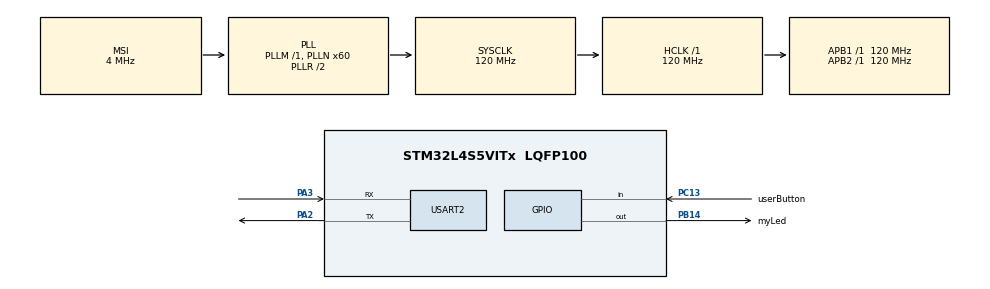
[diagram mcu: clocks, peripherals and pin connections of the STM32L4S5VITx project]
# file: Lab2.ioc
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ADC1.Channel-3\#ChannelRegularConversion=ADC_CHANNEL_VREFINT
ADC1.NbrOfConversionFlag=1
ADC1.OffsetNumber-3\#ChannelRegularConversion=ADC_OFFSET_NONE
ADC1.Rank-3\#ChannelRegularConversion=1
ADC1.Resolution=ADC_RESOLUTION_12B
ADC1.SamplingTime-3\#ChannelRegularConversion=ADC_SAMPLETIME_640CYCLES_5
ADC1.master=1
Mcu.Family=STM32L4
Mcu.Name=STM32L4S5VITx
Mcu.Package=LQFP100
NVIC.PriorityGroup=NVIC_PRIORITYGROUP_4
PA13\ (JTMS/SWDIO).Mode=Trace_Asynchronous_SW
PA13\ (JTMS/SWDIO).Signal=SYS_JTMS-SWDIO
PA14\ (JTCK/SWCLK).Mode=Trace_Asynchronous_SW
PA14\ (JTCK/SWCLK).Signal=SYS_JTCK-SWCLK
PA2.Mode=Asynchronous
PA2.Signal=USART2_TX
PA3.Mode=Asynchronous
PA3.Signal=USART2_RX
PB14.GPIO_Label=myLed
PB14.Signal=GPIO_Output
PB3\ (JTDO/TRACESWO).Mode=Trace_Asynchronous_SW
PB3\ (JTDO/TRACESWO).Signal=SYS_JTDO-SWO
PC13.GPIO_Label=userButton
PC13.Signal=GPIO_Input
ProjectManager.HeapSize=0x200
ProjectManager.StackSize=0x400
ProjectManager.TargetToolchain=STM32CubeIDE
RCC.ADCFreq_Value=48000000
RCC.AHBFreq_Value=120000000
RCC.APB1Freq_Value=120000000
RCC.APB1TimFreq_Value=120000000
RCC.APB2Freq_Value=120000000
RCC.APB2TimFreq_Value=120000000
RCC.CortexFreq_Value=120000000
RCC.HCLKFreq_Value=120000000
RCC.HSE_VALUE=8000000
RCC.HSI48_VALUE=48000000
RCC.HSI_VALUE=16000000
RCC.LSE_VALUE=32768
RCC.MSI_VALUE=4000000
RCC.PLLN=60
RCC.PLLSAI1N=24
RCC.SYSCLKFreq_VALUE=120000000
RCC.SYSCLKSource=RCC_SYSCLKSOURCE_PLLCLK
RCC.USBFreq_Value=48000000
RCC.VCOOutputFreq_Value=240000000
USART2.VirtualMode-Asynchronous=VM_ASYNC
VP_ADC1_TempSens_Input.Mode=IN-TempSens
VP_ADC1_Vref_Input.Mode=IN-Vrefint
board=B-L4S5I-IOT01A

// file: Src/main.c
/* USER CODE BEGIN Header */
/**
  ******************************************************************************
  * @file           : main.c
  * @brief          : Main program body
  ******************************************************************************
  * @attention
  *
  * Copyright (c) 2023 STMicroelectronics.
  * All rights reserved.
  *
  * This software is licensed under terms that can be found in the LICENSE file
  * in the root directory of this software component.
  * If no LICENSE file comes with this software, it is provided AS-IS.
  *
  ******************************************************************************
  */
/* USER CODE END Header */
#include "main.h"

/* USER CODE BEGIN Includes */
#include "stdio.h"
/* USER CODE END Includes */

/* USER CODE BEGIN PD */
// Get calibration values from memory as per documentation (pg 44 of datasheet)
#define TS_CAL1 ((uint16_t*)((uint32_t) 0x1FFF75A8))
#define TS_CAL2 ((uint16_t*)((uint32_t) 0x1FFF75CA))
#define VREFINT ((uint16_t*)((uint32_t) 0x1FFF75AA))

/* USER CODE END PD */

ADC_HandleTypeDef hadc1;

UART_HandleTypeDef huart2;

/* USER CODE BEGIN PV */
char status; // keep track of status from button (1 is read temperature, 0 is reference voltage)
uint32_t raw_data;	// data from ADC

/* USER CODE END PV */

void SystemClock_Config(void);
static void MX_GPIO_Init(void);
static void MX_ADC1_Init(void);
static void MX_USART2_UART_Init(void);
/* USER CODE BEGIN PFP */
// functions for lab 2
char readButton(char status);
int readVRef();
float readTemp(float v_ref);
void ADC_reconfig_vref(void);
void ADC_reconfig_temp(void);

// UART stuff for printf
#ifdef __GNUC__
#define PUTCHAR_PROTOTYPE int __io_putchar(int ch)
#else
#define PUTCHAR_PROTOTYPE int fputc(int ch, FILE *f)
#endif

PUTCHAR_PROTOTYPE
{
  HAL_UART_Transmit(&huart2, (uint8_t *)&ch, 1, HAL_MAX_DELAY);
  return ch;
}

/* USER CODE END PFP */

/* USER CODE BEGIN 0 */

/**
 * This function reads the button and switches its status as well as the state of the LED
 * To use button, hold until LED switches them immediately release
 *
 */
char readButton(char status) {

	if (HAL_GPIO_ReadPin(userButton_GPIO_Port, userButton_Pin) == 0) { // if button pressed

		status = !status; // switch status
		HAL_GPIO_TogglePin(myLed_GPIO_Port, myLed_Pin); // switch LED

	}
	HAL_Delay(700);
	return status;

}

/**
 * This function calculates the reference voltage
 *
 */
int readVRef() {
	// ADC conversion by polling as per data sheet instructions (pg 104 of HAL driver user manual)
	HAL_ADC_Start(&hadc1); // pg 107 of HAL driver manual
	while (HAL_ADC_PollForConversion(&hadc1, HAL_MAX_DELAY) != HAL_OK) {} // pg 142, 69 107 of HAL driver manual; HAL_MAX_DELAY means infinite poll until successful
	raw_data = HAL_ADC_GetValue(&hadc1); // pg 110 107 of HAL driver manual
	HAL_ADC_Stop(&hadc1); // pg 107 107 of HAL driver manual

	// calculate v_ref
	//float v_ref = 3000.0f * (*VREFINT) / raw_data;
	int v_ref = __HAL_ADC_CALC_VREFANALOG_VOLTAGE(raw_data, ADC_RESOLUTION_12B); // pg 129 of HAL driver manual

	return v_ref;
}

/**
 * This function reinitializes the ADC for reading VRef
 *
 */
void ADC_reconfig_vref() {
	ADC_ChannelConfTypeDef sConfig = {0};

	sConfig.Channel = ADC_CHANNEL_VREFINT;
	sConfig.SamplingTime = ADC_SAMPLETIME_247CYCLES_5;
	if (HAL_ADC_ConfigChannel(&hadc1, &sConfig) != HAL_OK)
	{
	  Error_Handler();
	}
}

/**
 * This function calculates the temperature
 *
 */
float readTemp(float v_ref) {
	// ADC conversion by polling as per data sheet instructions (pg 104 of HAL driver user manual)
	HAL_ADC_Start(&hadc1); // pg 107 of HAL driver manual
	while (HAL_ADC_PollForConversion(&hadc1, HAL_MAX_DELAY) != HAL_OK) {} // pg 142, 69 107 of HAL driver manual; HAL_MAX_DELAY means infinite poll until successful
	raw_data = HAL_ADC_GetValue(&hadc1); // pg 110 107 of HAL driver manual
	HAL_ADC_Stop(&hadc1); // pg 107 107 of HAL driver manual

	// page 130 of HAL driver manual for this function
	//float temp = __HAL_ADC_CALC_TEMPERATURE(v_ref, raw_data, ADC_RESOLUTION_12B);

	// TS_CAL1 taken @ 30 degrees C and TS_CAL2 taken @ 130 degrees C, both w/ Vref = 3.0 (pg 44 of datasheet)
	// Hence (130.0 - 30.0) and (3.3/3.0)
	// Equation from page 689 of long datasheet
	float temp = ((130.0 - 30.0)/(*TS_CAL2 - *TS_CAL1)) * ((v_ref/3000.0)*raw_data - (int) *TS_CAL1) + 30.0;

	return temp;
}

/**
 * This function reinitializes the ADC for reading temp
 *
 */
void ADC_reconfig_temp() {
	ADC_ChannelConfTypeDef sConfig = {0};

	sConfig.Channel = ADC_CHANNEL_TEMPSENSOR;
	sConfig.SamplingTime = ADC_SAMPLETIME_640CYCLES_5; // max for accuracy
	if(HAL_ADC_ConfigChannel(&hadc1, &sConfig) !=HAL_OK){
		Error_Handler();
	}
}

int _write(int file, char *ptr, int len) {
	int DataIdx;
	for (DataIdx = 0; DataIdx < len; DataIdx++) {
		ITM_SendChar(*ptr++);
	}
	return len;
}

/* USER CODE END 0 */

int main(void)
{
  /* USER CODE BEGIN 1 */

  int v_ref;
  float temp;

  /* USER CODE END 1 */

  /* MCU Configuration--------------------------------------------------------*/

  /* Reset of all peripherals, Initializes the Flash interface and the Systick. */
  HAL_Init();

  /* Configure the system clock */
  SystemClock_Config();

  /* Initialize all configured peripherals */
  MX_GPIO_Init();
  MX_ADC1_Init();
  MX_USART2_UART_Init();
  /* USER CODE BEGIN 2 */

  status = 0; // initially 0 (reference voltage)
  HAL_GPIO_WritePin(myLed_GPIO_Port, myLed_Pin, GPIO_PIN_RESET); // initially LED off (to match status)

  HAL_ADCEx_Calibration_Start(&hadc1, ADC_SINGLE_ENDED); // pg 104 optional instruction to improve accuracy **note that hadc1 is generated handle for ADC

  printf("Starting program.\n");

  // get v_ref once to be able to get temperature
  v_ref = readVRef();

  /* USER CODE END 2 */

  /* Infinite loop */
  while (1)
  {

    /* USER CODE BEGIN 3 */
	//ITM_Port32(31) = 1; // Command to track time with SWV Trace Log //TODO this cause an error when building, look into why

	status = readButton(status); // To use button, hold until LED switches them immediately release

	if (status == 0) { // calculate vref
		ADC_reconfig_vref();
		v_ref = readVRef();
		printf("Voltage: %i mV\n", v_ref);

	} else { // calculate temperature
		ADC_reconfig_temp();
		temp = readTemp(v_ref);
		printf("Temperature: %f degrees C\n", temp);
	}
  }
  /* USER CODE END 3 */
}

void SystemClock_Config(void)
{
  RCC_OscInitTypeDef RCC_OscInitStruct = {0};
  RCC_ClkInitTypeDef RCC_ClkInitStruct = {0};

  /** Configure the main internal regulator output voltage
  */
  if (HAL_PWREx_ControlVoltageScaling(PWR_REGULATOR_VOLTAGE_SCALE1_BOOST) != HAL_OK)
  {
    Error_Handler();
  }

  /** Initializes the RCC Oscillators according to the specified parameters
  * in the RCC_OscInitTypeDef structure.
  */
  RCC_OscInitStruct.OscillatorType = RCC_OSCILLATORTYPE_MSI;
  RCC_OscInitStruct.MSIState = RCC_MSI_ON;
  RCC_OscInitStruct.MSICalibrationValue = 0;
  RCC_OscInitStruct.MSIClockRange = RCC_MSIRANGE_6;
  RCC_OscInitStruct.PLL.PLLState = RCC_PLL_ON;
  RCC_OscInitStruct.PLL.PLLSource = RCC_PLLSOURCE_MSI;
  RCC_OscInitStruct.PLL.PLLM = 1;
  RCC_OscInitStruct.PLL.PLLN = 60;
  RCC_OscInitStruct.PLL.PLLP = RCC_PLLP_DIV2;
  RCC_OscInitStruct.PLL.PLLQ = RCC_PLLQ_DIV2;
  RCC_OscInitStruct.PLL.PLLR = RCC_PLLR_DIV2;
  if (HAL_RCC_OscConfig(&RCC_OscInitStruct) != HAL_OK)
  {
    Error_Handler();
  }

  /** Initializes the CPU, AHB and APB buses clocks
  */
  RCC_ClkInitStruct.ClockType = RCC_CLOCKTYPE_HCLK|RCC_CLOCKTYPE_SYSCLK
                              |RCC_CLOCKTYPE_PCLK1|RCC_CLOCKTYPE_PCLK2;
  RCC_ClkInitStruct.SYSCLKSource = RCC_SYSCLKSOURCE_PLLCLK;
  RCC_ClkInitStruct.AHBCLKDivider = RCC_SYSCLK_DIV1;
  RCC_ClkInitStruct.APB1CLKDivider = RCC_HCLK_DIV1;
  RCC_ClkInitStruct.APB2CLKDivider = RCC_HCLK_DIV1;

  if (HAL_RCC_ClockConfig(&RCC_ClkInitStruct, FLASH_LATENCY_5) != HAL_OK)
  {
    Error_Handler();
  }
}

static void MX_ADC1_Init(void)
{

  /* USER CODE BEGIN ADC1_Init 0 */
	status = HAL_GPIO_ReadPin(myLed_GPIO_Port, myLed_Pin); // 1 if on, 0 if off
  /* USER CODE END ADC1_Init 0 */

  ADC_ChannelConfTypeDef sConfig = {0};

  /** Common config
  */
  hadc1.Instance = ADC1;
  hadc1.Init.ClockPrescaler = ADC_CLOCK_ASYNC_DIV1;
  hadc1.Init.Resolution = ADC_RESOLUTION_12B;
  hadc1.Init.DataAlign = ADC_DATAALIGN_RIGHT;
  hadc1.Init.ScanConvMode = ADC_SCAN_DISABLE;
  hadc1.Init.EOCSelection = ADC_EOC_SINGLE_CONV;
  hadc1.Init.LowPowerAutoWait = DISABLE;
  hadc1.Init.ContinuousConvMode = DISABLE;
  hadc1.Init.NbrOfConversion = 1;
  hadc1.Init.DiscontinuousConvMode = DISABLE;
  hadc1.Init.ExternalTrigConv = ADC_SOFTWARE_START;
  hadc1.Init.ExternalTrigConvEdge = ADC_EXTERNALTRIGCONVEDGE_NONE;
  hadc1.Init.DMAContinuousRequests = DISABLE;
  hadc1.Init.Overrun = ADC_OVR_DATA_PRESERVED;
  hadc1.Init.OversamplingMode = DISABLE;
  hadc1.Init.DFSDMConfig = ADC_DFSDM_MODE_ENABLE;
  if (HAL_ADC_Init(&hadc1) != HAL_OK)
  {
    Error_Handler();
  }

  /** Configure Regular Channel
  */
  sConfig.Channel = ADC_CHANNEL_VREFINT;
  sConfig.Rank = ADC_REGULAR_RANK_1;
  sConfig.SamplingTime = ADC_SAMPLETIME_247CYCLES_5;
  sConfig.SingleDiff = ADC_SINGLE_ENDED;
  sConfig.OffsetNumber = ADC_OFFSET_NONE;
  sConfig.Offset = 0;
  if (HAL_ADC_ConfigChannel(&hadc1, &sConfig) != HAL_OK)
  {
    Error_Handler();
  }

}

static void MX_USART2_UART_Init(void)
{

  huart2.Instance = USART2;
  huart2.Init.BaudRate = 115200;
  huart2.Init.WordLength = UART_WORDLENGTH_8B;
  huart2.Init.StopBits = UART_STOPBITS_1;
  huart2.Init.Parity = UART_PARITY_NONE;
  huart2.Init.Mode = UART_MODE_TX_RX;
  huart2.Init.HwFlowCtl = UART_HWCONTROL_NONE;
  huart2.Init.OverSampling = UART_OVERSAMPLING_16;
  huart2.Init.OneBitSampling = UART_ONE_BIT_SAMPLE_DISABLE;
  huart2.Init.ClockPrescaler = UART_PRESCALER_DIV1;
  huart2.AdvancedInit.AdvFeatureInit = UART_ADVFEATURE_NO_INIT;
  if (HAL_UART_Init(&huart2) != HAL_OK)
  {
    Error_Handler();
  }
  if (HAL_UARTEx_SetTxFifoThreshold(&huart2, UART_TXFIFO_THRESHOLD_1_8) != HAL_OK)
  {
    Error_Handler();
  }
  if (HAL_UARTEx_SetRxFifoThreshold(&huart2, UART_RXFIFO_THRESHOLD_1_8) != HAL_OK)
  {
    Error_Handler();
  }
  if (HAL_UARTEx_DisableFifoMode(&huart2) != HAL_OK)
  {
    Error_Handler();
  }

}

static void MX_GPIO_Init(void)
{
  GPIO_InitTypeDef GPIO_InitStruct = {0};

  /* GPIO Ports Clock Enable */
  __HAL_RCC_GPIOC_CLK_ENABLE();
  __HAL_RCC_GPIOA_CLK_ENABLE();
  __HAL_RCC_GPIOB_CLK_ENABLE();

  /*Configure GPIO pin Output Level */
  HAL_GPIO_WritePin(myLed_GPIO_Port, myLed_Pin, GPIO_PIN_RESET);

  /*Configure GPIO pin : userButton_Pin */
  GPIO_InitStruct.Pin = userButton_Pin;
  GPIO_InitStruct.Mode = GPIO_MODE_INPUT;
  GPIO_InitStruct.Pull = GPIO_NOPULL;
  HAL_GPIO_Init(userButton_GPIO_Port, &GPIO_InitStruct);

  /*Configure GPIO pin : myLed_Pin */
  GPIO_InitStruct.Pin = myLed_Pin;
  GPIO_InitStruct.Mode = GPIO_MODE_OUTPUT_PP;
  GPIO_InitStruct.Pull = GPIO_NOPULL;
  GPIO_InitStruct.Speed = GPIO_SPEED_FREQ_LOW;
  HAL_GPIO_Init(myLed_GPIO_Port, &GPIO_InitStruct);

}

void Error_Handler(void)
{
  __disable_irq();
  while (1)
  {
  }
}
